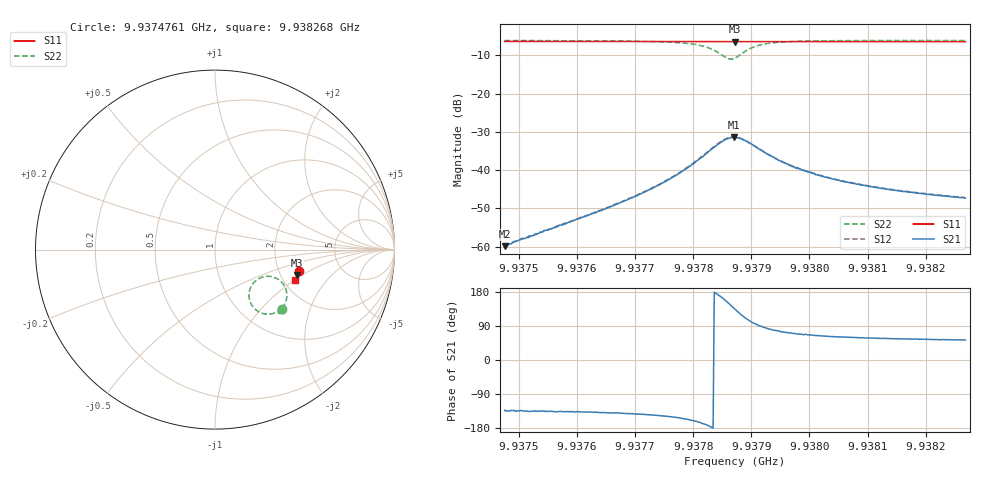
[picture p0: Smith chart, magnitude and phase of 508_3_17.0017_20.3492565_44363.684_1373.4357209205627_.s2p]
#  HZ  S  RI  R  50.00
! Rohde & Schwarz Vector Network Analyzer
! Rohde-Schwarz,ZNB20-2Port,1311601062101988,3.16
! Created: UTC 3/20/2024, 11:14:53 PM
! freq[Hz]  re:S11  im:S11  re:S21  im:S21  re:S12  im:S12  re:S22  im:S22
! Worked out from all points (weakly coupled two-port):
!   401 points, 9.9374761 GHz to 9.938268 GHz, reference 50 ohm
!   highest |S21| = -31.39 dB at 9.9378701 GHz (marker M1); lowest = -59.9 dB at 9.9374761 GHz (marker M2)
!   lowest |S11| = -6.4 dB at 9.937872 GHz (marker M3), VSWR 2.83, Z = 122 - j45.4 ohm
!   |S11| at or under -10 dB: nowhere
!   |S22| runs from -10.9 to -6.1 dB; largest |S21 - S12| = 0.0012
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9.93747609e9  0.4677 -0.1199  -0.000684 -0.00075  -0.000733 -0.00076  0.372 -0.3287
9.93748401e9  0.4674 -0.1205  -0.000759 -0.000774  -0.000754 -0.000778  0.3715 -0.3294
9.93750381e9  0.4671 -0.1219  -0.000848 -0.000921  -0.000863 -0.000881  0.3695 -0.3309
9.93760873e9  0.4645 -0.129  -0.00177 -0.00164  -0.00178 -0.00165  0.3566 -0.3407
9.93767604e9  0.463 -0.1334  -0.00293 -0.00243  -0.00298 -0.0024  0.343 -0.3485
9.93774137e9  0.4613 -0.1379  -0.00533 -0.00349  -0.00548 -0.0035  0.3188 -0.3572
9.93777899e9  0.46 -0.1405  -0.00841 -0.00418  -0.00862 -0.00415  0.2918 -0.3598
9.93782254e9  0.458 -0.1433  -0.0162 -0.00275  -0.0166 -0.00244  0.2298 -0.3373
9.9378364e9  0.457 -0.144  -0.02 0.000428  -0.0204 0.000844  0.2037 -0.3077
9.93785026e9  0.4563 -0.1442  -0.0228 0.0065  -0.0233 0.00742  0.1893 -0.255
9.93786213e9  0.4559 -0.144  -0.0224 0.0138  -0.0224 0.0149  0.205 -0.199
9.93787005e9  0.4559 -0.144  -0.0197 0.0184  -0.0195 0.0194  0.2341 -0.1681
9.93787203e9  0.4558 -0.1439  -0.0187 0.0194  -0.0182 0.0203  0.243 -0.1624
9.93788193e9  0.4562 -0.1441  -0.0129 0.0223  -0.0125 0.0228  0.2908 -0.1489
9.93789579e9  0.4568 -0.1449  -0.00581 0.0222  -0.00524 0.0226  0.3463 -0.1622
9.93791757e9  0.4571 -0.1466  0.000549 0.0181  0.00102 0.0182  0.3881 -0.205
9.93794528e9  0.4569 -0.1488  0.00303 0.0133  0.00352 0.0133  0.4001 -0.2464
9.93796706e9  0.4564 -0.1505  0.00364 0.0109  0.004 0.0109  0.3998 -0.2672
9.93800467e9  0.4556 -0.1533  0.00373 0.00833  0.00393 0.00833  0.3949 -0.2898
9.93805812e9  0.4541 -0.1569  0.00351 0.00619  0.00369 0.00619  0.3868 -0.3078
9.93813731e9  0.4521 -0.1623  0.00308 0.00464  0.00322 0.00466  0.3774 -0.3229
9.93826797e9  0.4485 -0.1707  0.00261 0.00343  0.00271 0.00346  0.3653 -0.3375
